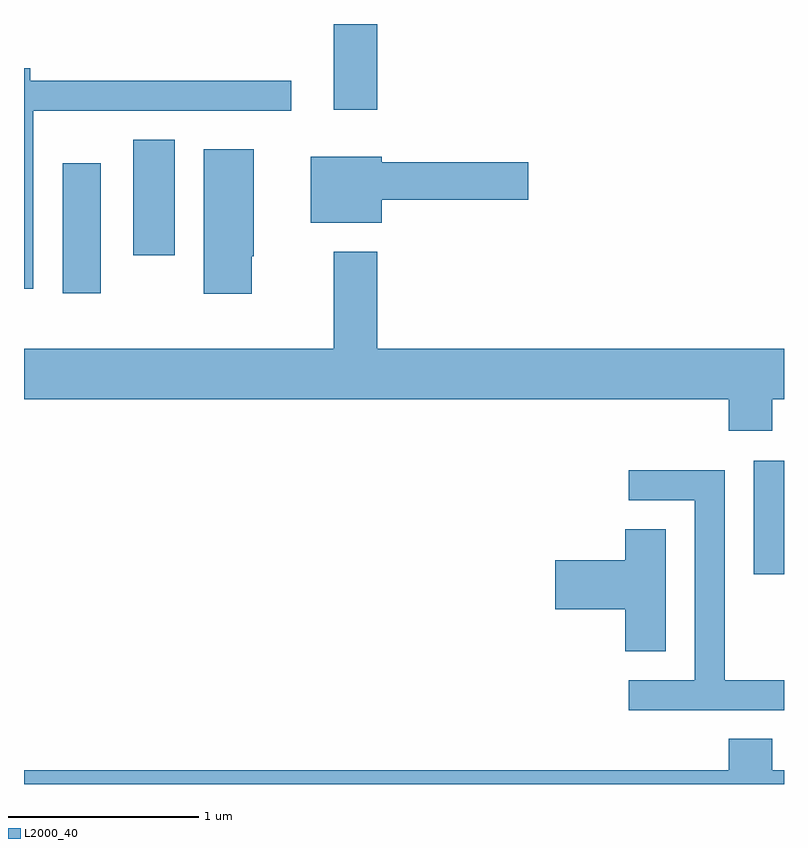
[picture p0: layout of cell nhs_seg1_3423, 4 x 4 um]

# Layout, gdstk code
import gdstk
lib = gdstk.Library(unit=1e-6, precision=1e-09)
def R(c, l, rs):  # rectangles x0, y0, x1, y1
    for r in rs: c.add(gdstk.rectangle(r[:2], r[2:], *l))
def P(c, l, *ps):  # polygons
    for p in ps: c.add(gdstk.Polygon(p, *l))
L2000_40 = (2000, 40)

nhs_seg1_3423 = lib.new_cell('nhs_seg1_3423')
R(nhs_seg1_3423, L2000_40, [(291.451,960.816,291.611,961.414), (287.816,962.296,288.014,962.979), (288.186,962.496,288.404,963.104), (289.241,963.261,289.469,963.712)])
P(nhs_seg1_3423, L2000_40, [(287.659,963.256),(289.018,963.256),(289.018,963.414),(287.644,963.414),(287.644,963.479),(287.611,963.479),(287.611,962.318),(287.659,962.318)],
  [(288.809,962.49),(288.819,962.49),(288.819,963.054),(288.556,963.054),(288.556,962.291),(288.809,962.291)],
  [(289.494,962.786),(290.264,962.786),(290.264,962.984),(289.494,962.984),(289.494,963.014),(289.121,963.014),(289.121,962.666),(289.494,962.666)],
  [(291.549,961.736),(291.611,961.736),(291.611,962.004),(289.469,962.004),(289.469,962.514),(289.241,962.514),(289.241,962.004),(287.611,962.004),(287.611,961.736),(291.321,961.736),(291.321,961.571),(291.549,961.571)],
  [(291.611,960.259),(291.299,960.259),(291.299,961.364),(290.793,961.364),(290.793,961.206),(291.141,961.206),(291.141,960.259),(290.793,960.259),(290.793,960.101),(291.611,960.101)],
  [(290.989,961.054),(290.776,961.054),(290.776,960.889),(290.406,960.889),(290.406,960.631),(290.776,960.631),(290.776,960.411),(290.989,960.411)],
  [(291.611,959.784),(291.549,959.784),(291.549,959.949),(291.321,959.949),(291.321,959.784),(287.611,959.784),(287.611,959.712),(291.611,959.712)])

lib.write_gds('nhs_seg1_3423.gds')
